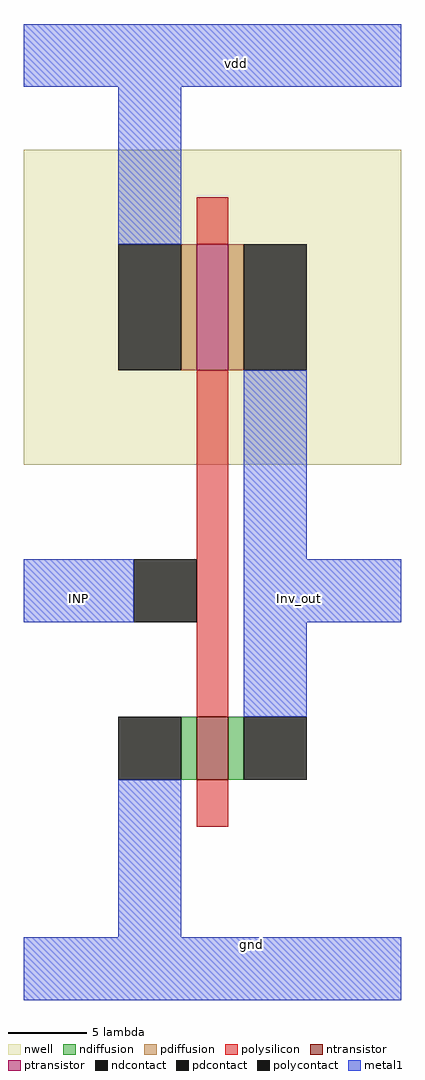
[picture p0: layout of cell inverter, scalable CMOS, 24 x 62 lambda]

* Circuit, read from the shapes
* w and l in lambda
.subckt inverter INP Inv_out gnd vdd
M1 Inv_out INP gnd VSUBS nfet w=4 l=2
M2 Inv_out INP vdd n1 pfet w=8 l=2
.ends

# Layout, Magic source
magic
tech scmos
<< nwell >>
rect 0 0 24 20
<< ntransistor >>
rect 11 -20 13 -16
<< ptransistor >>
rect 11 6 13 14
<< ndiffusion >>
rect 10 -20 11 -16
rect 13 -20 14 -16
<< pdiffusion >>
rect 10 6 11 14
rect 13 6 14 14
<< ndcontact >>
rect 6 -20 10 -16
rect 14 -20 18 -16
<< pdcontact >>
rect 6 6 10 14
rect 14 6 18 14
<< polysilicon >>
rect 11 14 13 17
rect 11 -16 13 6
rect 11 -23 13 -20
<< polycontact >>
rect 7 -10 11 -6
<< metal1 >>
rect 0 24 24 28
rect 6 14 10 24
rect 14 -6 18 6
rect 0 -10 7 -6
rect 14 -10 24 -6
rect 14 -16 18 -10
rect 6 -30 10 -20
rect 0 -34 24 -30
<< labels >>
rlabel metal1 3 -9 4 -8 3 INP
rlabel metal1 14 -31 15 -30 1 gnd
rlabel metal1 13 25 14 26 5 vdd
rlabel metal1 17 -9 18 -8 1 Inv_out
<< end >>
